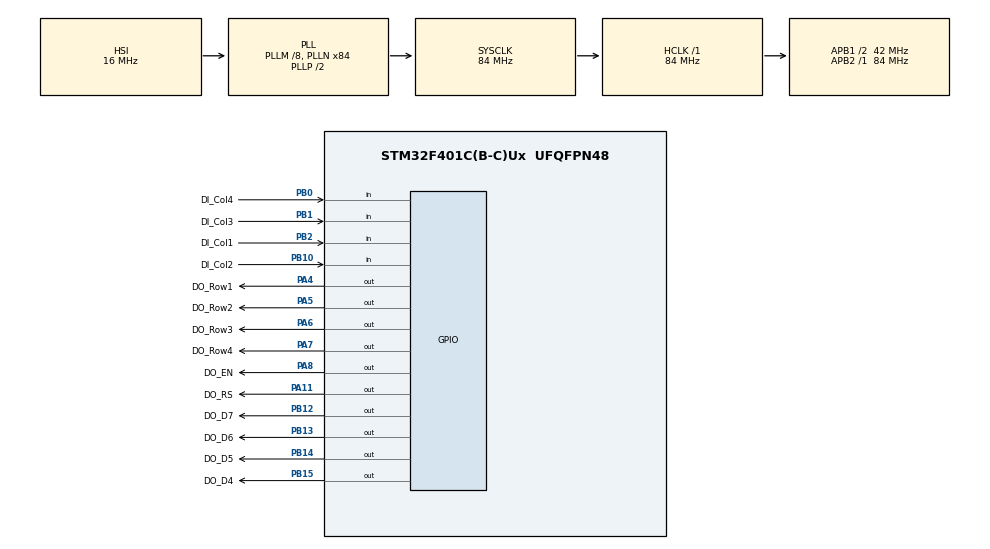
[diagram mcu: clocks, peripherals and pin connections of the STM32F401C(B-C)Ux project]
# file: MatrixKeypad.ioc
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Mcu.Family=STM32F4
Mcu.Name=STM32F401C(B-C)Ux
Mcu.Package=UFQFPN48
NVIC.PriorityGroup=NVIC_PRIORITYGROUP_4
PA11.GPIO_Label=DO_RS
PA11.Signal=GPIO_Output
PA13.Mode=Serial_Wire
PA13.Signal=SYS_JTMS-SWDIO
PA14.Mode=Serial_Wire
PA14.Signal=SYS_JTCK-SWCLK
PA4.GPIO_Label=DO_Row1
PA4.Signal=GPIO_Output
PA5.GPIO_Label=DO_Row2
PA5.Signal=GPIO_Output
PA6.GPIO_Label=DO_Row3
PA6.Signal=GPIO_Output
PA7.GPIO_Label=DO_Row4
PA7.Signal=GPIO_Output
PA8.GPIO_Label=DO_EN
PA8.Signal=GPIO_Output
PB0.GPIO_Label=DI_Col4
PB0.GPIO_PuPd=GPIO_PULLUP
PB0.Signal=GPIO_Input
PB1.GPIO_Label=DI_Col3
PB1.GPIO_PuPd=GPIO_PULLUP
PB1.Signal=GPIO_Input
PB10.GPIO_Label=DI_Col2
PB10.GPIO_PuPd=GPIO_PULLUP
PB10.Signal=GPIO_Input
PB12.GPIO_Label=DO_D7
PB12.Signal=GPIO_Output
PB13.GPIO_Label=DO_D6
PB13.Signal=GPIO_Output
PB14.GPIO_Label=DO_D5
PB14.Signal=GPIO_Output
PB15.GPIO_Label=DO_D4
PB15.Signal=GPIO_Output
PB2.GPIO_Label=DI_Col1
PB2.GPIO_PuPd=GPIO_PULLUP
PB2.Signal=GPIO_Input
PH0\ -\ OSC_IN.Mode=HSE-External-Oscillator
PH0\ -\ OSC_IN.Signal=RCC_OSC_IN
PH1\ -\ OSC_OUT.Mode=HSE-External-Oscillator
PH1\ -\ OSC_OUT.Signal=RCC_OSC_OUT
ProjectManager.HeapSize=0x200
ProjectManager.StackSize=0x400
ProjectManager.TargetToolchain=STM32CubeIDE
RCC.48MHZClocksFreq_Value=42000000
RCC.AHBFreq_Value=84000000
RCC.APB1CLKDivider=RCC_HCLK_DIV2
RCC.APB1Freq_Value=42000000
RCC.APB1TimFreq_Value=84000000
RCC.APB2Freq_Value=84000000
RCC.APB2TimFreq_Value=84000000
RCC.CortexFreq_Value=84000000
RCC.HCLKFreq_Value=84000000
RCC.HSE_VALUE=25000000
RCC.HSI_VALUE=16000000
RCC.LSE_VALUE=32768
RCC.PLLM=8
RCC.PLLN=84
RCC.SYSCLKFreq_VALUE=84000000
RCC.SYSCLKSource=RCC_SYSCLKSOURCE_PLLCLK
RCC.VCOOutputFreq_Value=168000000
TIM1.AutoReloadPreload=TIM_AUTORELOAD_PRELOAD_DISABLE
TIM1.Prescaler=71
VP_TIM1_VS_ClockSourceINT.Mode=Internal
board=custom

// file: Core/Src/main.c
/* USER CODE BEGIN Header */
/**
  ******************************************************************************
  * @file           : main.c
  * @brief          : Main program body
  ******************************************************************************
  * @attention
  *
  * Copyright (c) 2024 STMicroelectronics.
  * All rights reserved.
  *
  * This software is licensed under terms that can be found in the LICENSE file
  * in the root directory of this software component.
  * If no LICENSE file comes with this software, it is provided AS-IS.
  *
  ******************************************************************************
  */
/* USER CODE END Header */
#include "main.h"

/* USER CODE BEGIN Includes */
#include "LCD1602.h"
/* USER CODE END Includes */

TIM_HandleTypeDef htim1;

void SystemClock_Config(void);
static void MX_GPIO_Init(void);
static void MX_TIM1_Init(void);

int main(void)
{

  /* MCU Configuration--------------------------------------------------------*/

  /* Reset of all peripherals, Initializes the Flash interface and the Systick. */
  HAL_Init();

  /* Configure the system clock */
  SystemClock_Config();

  /* Initialize all configured peripherals */
  MX_GPIO_Init();
  MX_TIM1_Init();
  /* USER CODE BEGIN 2 */
  HAL_TIM_Base_Start(&htim1);
  uint8_t  B_B ;
  uint8_t B_B_old=0;
  lcd_init ();
  lcd_clear();

  lcd_put_cur(0, 0);
  lcd_send_string("   Panda+ Kit   ");
  lcd_put_cur(1, 0);
  lcd_send_string("SW -- is Preesed");

  /* USER CODE END 2 */

  /* Infinite loop */
  /* USER CODE BEGIN WHILE */
  while (1)
  {
	B_B=0;
//	while (B_B==0)
//	{
	HAL_GPIO_WritePin(DO_Row1_GPIO_Port, DO_Row1_Pin, 0);
	HAL_GPIO_WritePin(DO_Row2_GPIO_Port, DO_Row2_Pin, 1);
	HAL_GPIO_WritePin(DO_Row3_GPIO_Port, DO_Row3_Pin, 1);
	HAL_GPIO_WritePin(DO_Row4_GPIO_Port, DO_Row4_Pin, 1);
	if (HAL_GPIO_ReadPin(DI_Col1_GPIO_Port, DI_Col1_Pin) == 0 )B_B=1;
	else if(HAL_GPIO_ReadPin(DI_Col2_GPIO_Port, DI_Col2_Pin) == 0)B_B=2;
	else if(HAL_GPIO_ReadPin(DI_Col3_GPIO_Port, DI_Col3_Pin) == 0)B_B=3;
	else if(HAL_GPIO_ReadPin(DI_Col4_GPIO_Port, DI_Col4_Pin) == 0)B_B=4;
	HAL_GPIO_WritePin(DO_Row1_GPIO_Port, DO_Row1_Pin, 1);
//	if (B_B!=0) goto Exit_Scan;
	//-----
	HAL_GPIO_WritePin(DO_Row2_GPIO_Port, DO_Row2_Pin, 0);
	HAL_GPIO_WritePin(DO_Row1_GPIO_Port, DO_Row1_Pin, 1);
	HAL_GPIO_WritePin(DO_Row3_GPIO_Port, DO_Row3_Pin, 1);
	HAL_GPIO_WritePin(DO_Row4_GPIO_Port, DO_Row4_Pin, 1);
	if (HAL_GPIO_ReadPin(DI_Col1_GPIO_Port, DI_Col1_Pin) == 0 )B_B=5;
	else if(HAL_GPIO_ReadPin(DI_Col2_GPIO_Port, DI_Col2_Pin) == 0)B_B=6;
	else if(HAL_GPIO_ReadPin(DI_Col3_GPIO_Port, DI_Col3_Pin) == 0)B_B=7;
	else if(HAL_GPIO_ReadPin(DI_Col4_GPIO_Port, DI_Col4_Pin) == 0)B_B=8;
	HAL_GPIO_WritePin(DO_Row2_GPIO_Port, DO_Row2_Pin, 1);
//	if (B_B!=0) goto Exit_Scan;
	//-----
	HAL_GPIO_WritePin(DO_Row3_GPIO_Port, DO_Row3_Pin, 0);
	HAL_GPIO_WritePin(DO_Row1_GPIO_Port, DO_Row1_Pin, 1);
	HAL_GPIO_WritePin(DO_Row2_GPIO_Port, DO_Row2_Pin, 1);
	HAL_GPIO_WritePin(DO_Row4_GPIO_Port, DO_Row4_Pin, 1);
	if (HAL_GPIO_ReadPin(DI_Col1_GPIO_Port, DI_Col1_Pin) == 0 )B_B=9;
	else if(HAL_GPIO_ReadPin(DI_Col2_GPIO_Port, DI_Col2_Pin) == 0)B_B=10;
	else if(HAL_GPIO_ReadPin(DI_Col3_GPIO_Port, DI_Col3_Pin) == 0)B_B=11;
	else if(HAL_GPIO_ReadPin(DI_Col4_GPIO_Port, DI_Col4_Pin) == 0)B_B=12;
	HAL_GPIO_WritePin(DO_Row3_GPIO_Port, DO_Row3_Pin, 1);
//	if (B_B!=0) goto Exit_Scan;
	//-----
	HAL_GPIO_WritePin(DO_Row4_GPIO_Port, DO_Row4_Pin, 0);
	HAL_GPIO_WritePin(DO_Row1_GPIO_Port, DO_Row1_Pin, 1);
	HAL_GPIO_WritePin(DO_Row2_GPIO_Port, DO_Row2_Pin, 1);
	HAL_GPIO_WritePin(DO_Row3_GPIO_Port, DO_Row3_Pin, 1);
	if (HAL_GPIO_ReadPin(DI_Col1_GPIO_Port, DI_Col1_Pin) == 0 )B_B=13;
	else if(HAL_GPIO_ReadPin(DI_Col2_GPIO_Port, DI_Col2_Pin) == 0)B_B=14;
	else if(HAL_GPIO_ReadPin(DI_Col3_GPIO_Port, DI_Col3_Pin) == 0)B_B=15;
	else if(HAL_GPIO_ReadPin(DI_Col4_GPIO_Port, DI_Col4_Pin) == 0)B_B=16;
	HAL_GPIO_WritePin(DO_Row4_GPIO_Port, DO_Row4_Pin, 1);
//  }
//Exit_Scan:
	if (B_B != B_B_old)
	{
switch (B_B) {
	case 1:
				B_B_old =1;
		lcd_put_cur(1, 3);
		lcd_send_string("01");
		for (uint8_t i =0; i<4;i++)
		HAL_Delay(255);

		break;
	case 2:
		{		B_B_old =2;
			lcd_put_cur(1, 3);
			lcd_send_string("02");
			for (uint8_t i =0; i<4;i++)
			HAL_Delay(255);
		}
		break;
	case 3:
		{		B_B_old =3;
			lcd_put_cur(1, 3);
			lcd_send_string("03");
			for (uint8_t i =0; i<4;i++)
			HAL_Delay(255);
		}
		break;
	case 4:
		{		B_B_old =4;
			lcd_put_cur(1, 3);
			lcd_send_string("04");
			for (uint8_t i =0; i<4;i++)
			HAL_Delay(255);
		}
		break;
	case 5:
		{		B_B_old =5;
			lcd_put_cur(1, 3);
			lcd_send_string("05");
			for (uint8_t i =0; i<4;i++)
			HAL_Delay(255);
		}
		break;
	case 6:
		{		B_B_old =6;
			lcd_put_cur(1, 3);
			lcd_send_string("06");
			for (uint8_t i =0; i<4;i++)
			HAL_Delay(255);
		}
		break;
	case 7:
		{		B_B_old =7;
			lcd_put_cur(1, 3);
			lcd_send_string("07");
			for (uint8_t i =0; i<4;i++)
			HAL_Delay(255);
		}
		break;
	case 8:
		{		B_B_old =8;
			lcd_put_cur(1, 3);
			lcd_send_string("08");
			for (uint8_t i =0; i<4;i++)
			HAL_Delay(255);
		}
		break;
	case 9:
		{		B_B_old =9;
			lcd_put_cur(1, 3);
			lcd_send_string("09");
			for (uint8_t i =0; i<4;i++)
			HAL_Delay(255);
		}
		break;
	case 10:
		{		B_B_old =10;
			lcd_put_cur(1, 3);
			lcd_send_string("10");
			for (uint8_t i =0; i<4;i++)
			HAL_Delay(255);
		}
		break;
	case 11:
		{		B_B_old =11;
			lcd_put_cur(1, 3);
			lcd_send_string("11");
			for (uint8_t i =0; i<4;i++)
			HAL_Delay(255);
		}
		break;
	case 12:
		{		B_B_old =12;
			lcd_put_cur(1, 3);
			lcd_send_string("12");
			for (uint8_t i =0; i<4;i++)
			HAL_Delay(255);
		}
		break;
	case 13:
		{		B_B_old =13;
			lcd_put_cur(1, 3);
			lcd_send_string("13");
			for (uint8_t i =0; i<4;i++)
			HAL_Delay(255);
		}
		break;
	case 14:
		{		B_B_old =14;
			lcd_put_cur(1, 3);
			lcd_send_string("14");
			for (uint8_t i =0; i<4;i++)
			HAL_Delay(255);
		}
		break;
	case 15:
		{		B_B_old =15;
			lcd_put_cur(1, 3);
			lcd_send_string("15");
			for (uint8_t i =0; i<4;i++)
			HAL_Delay(255);
		}
		break;
	case 16:
		{		B_B_old =16;
			lcd_put_cur(1, 3);
			lcd_send_string("16");
			for (uint8_t i =0; i<4;i++)
			HAL_Delay(255);
		}
        break;
	default:
		    B_B_old =0;
			lcd_put_cur(1, 3);
			lcd_send_string("--");
	    break;
}
	}

    /* USER CODE END WHILE */

  }
}

void SystemClock_Config(void)
{
  RCC_OscInitTypeDef RCC_OscInitStruct = {0};
  RCC_ClkInitTypeDef RCC_ClkInitStruct = {0};

  /** Configure the main internal regulator output voltage
  */
  __HAL_RCC_PWR_CLK_ENABLE();
  __HAL_PWR_VOLTAGESCALING_CONFIG(PWR_REGULATOR_VOLTAGE_SCALE2);
  /** Initializes the RCC Oscillators according to the specified parameters
  * in the RCC_OscInitTypeDef structure.
  */
  RCC_OscInitStruct.OscillatorType = RCC_OSCILLATORTYPE_HSI;
  RCC_OscInitStruct.HSIState = RCC_HSI_ON;
  RCC_OscInitStruct.HSICalibrationValue = RCC_HSICALIBRATION_DEFAULT;
  RCC_OscInitStruct.PLL.PLLState = RCC_PLL_ON;
  RCC_OscInitStruct.PLL.PLLSource = RCC_PLLSOURCE_HSI;
  RCC_OscInitStruct.PLL.PLLM = 8;
  RCC_OscInitStruct.PLL.PLLN = 84;
  RCC_OscInitStruct.PLL.PLLP = RCC_PLLP_DIV2;
  RCC_OscInitStruct.PLL.PLLQ = 4;
  if (HAL_RCC_OscConfig(&RCC_OscInitStruct) != HAL_OK)
  {
    Error_Handler();
  }
  /** Initializes the CPU, AHB and APB buses clocks
  */
  RCC_ClkInitStruct.ClockType = RCC_CLOCKTYPE_HCLK|RCC_CLOCKTYPE_SYSCLK
                              |RCC_CLOCKTYPE_PCLK1|RCC_CLOCKTYPE_PCLK2;
  RCC_ClkInitStruct.SYSCLKSource = RCC_SYSCLKSOURCE_PLLCLK;
  RCC_ClkInitStruct.AHBCLKDivider = RCC_SYSCLK_DIV1;
  RCC_ClkInitStruct.APB1CLKDivider = RCC_HCLK_DIV2;
  RCC_ClkInitStruct.APB2CLKDivider = RCC_HCLK_DIV1;

  if (HAL_RCC_ClockConfig(&RCC_ClkInitStruct, FLASH_LATENCY_2) != HAL_OK)
  {
    Error_Handler();
  }
}

static void MX_TIM1_Init(void)
{

  TIM_ClockConfigTypeDef sClockSourceConfig = {0};
  TIM_MasterConfigTypeDef sMasterConfig = {0};

  htim1.Instance = TIM1;
  htim1.Init.Prescaler = 71;
  htim1.Init.CounterMode = TIM_COUNTERMODE_UP;
  htim1.Init.Period = 65535;
  htim1.Init.ClockDivision = TIM_CLOCKDIVISION_DIV1;
  htim1.Init.RepetitionCounter = 0;
  htim1.Init.AutoReloadPreload = TIM_AUTORELOAD_PRELOAD_DISABLE;
  if (HAL_TIM_Base_Init(&htim1) != HAL_OK)
  {
    Error_Handler();
  }
  sClockSourceConfig.ClockSource = TIM_CLOCKSOURCE_INTERNAL;
  if (HAL_TIM_ConfigClockSource(&htim1, &sClockSourceConfig) != HAL_OK)
  {
    Error_Handler();
  }
  sMasterConfig.MasterOutputTrigger = TIM_TRGO_RESET;
  sMasterConfig.MasterSlaveMode = TIM_MASTERSLAVEMODE_DISABLE;
  if (HAL_TIMEx_MasterConfigSynchronization(&htim1, &sMasterConfig) != HAL_OK)
  {
    Error_Handler();
  }

}

static void MX_GPIO_Init(void)
{
  GPIO_InitTypeDef GPIO_InitStruct = {0};

  /* GPIO Ports Clock Enable */
  __HAL_RCC_GPIOH_CLK_ENABLE();
  __HAL_RCC_GPIOA_CLK_ENABLE();
  __HAL_RCC_GPIOB_CLK_ENABLE();

  /*Configure GPIO pin Output Level */
  HAL_GPIO_WritePin(GPIOA, DO_Row1_Pin|DO_Row2_Pin|DO_Row3_Pin|DO_Row4_Pin
                          |DO_EN_Pin|DO_RS_Pin, GPIO_PIN_RESET);

  /*Configure GPIO pin Output Level */
  HAL_GPIO_WritePin(GPIOB, DO_D7_Pin|DO_D6_Pin|DO_D5_Pin|DO_D4_Pin, GPIO_PIN_RESET);

  /*Configure GPIO pins : DO_Row1_Pin DO_Row2_Pin DO_Row3_Pin DO_Row4_Pin
                           DO_EN_Pin DO_RS_Pin */
  GPIO_InitStruct.Pin = DO_Row1_Pin|DO_Row2_Pin|DO_Row3_Pin|DO_Row4_Pin
                          |DO_EN_Pin|DO_RS_Pin;
  GPIO_InitStruct.Mode = GPIO_MODE_OUTPUT_PP;
  GPIO_InitStruct.Pull = GPIO_NOPULL;
  GPIO_InitStruct.Speed = GPIO_SPEED_FREQ_LOW;
  HAL_GPIO_Init(GPIOA, &GPIO_InitStruct);

  /*Configure GPIO pins : DI_Col4_Pin DI_Col3_Pin DI_Col1_Pin DI_Col2_Pin */
  GPIO_InitStruct.Pin = DI_Col4_Pin|DI_Col3_Pin|DI_Col1_Pin|DI_Col2_Pin;
  GPIO_InitStruct.Mode = GPIO_MODE_INPUT;
  GPIO_InitStruct.Pull = GPIO_PULLUP;
  HAL_GPIO_Init(GPIOB, &GPIO_InitStruct);

  /*Configure GPIO pins : DO_D7_Pin DO_D6_Pin DO_D5_Pin DO_D4_Pin */
  GPIO_InitStruct.Pin = DO_D7_Pin|DO_D6_Pin|DO_D5_Pin|DO_D4_Pin;
  GPIO_InitStruct.Mode = GPIO_MODE_OUTPUT_PP;
  GPIO_InitStruct.Pull = GPIO_NOPULL;
  GPIO_InitStruct.Speed = GPIO_SPEED_FREQ_LOW;
  HAL_GPIO_Init(GPIOB, &GPIO_InitStruct);

}

void Error_Handler(void)
{
  __disable_irq();
  while (1)
  {
  }
}
